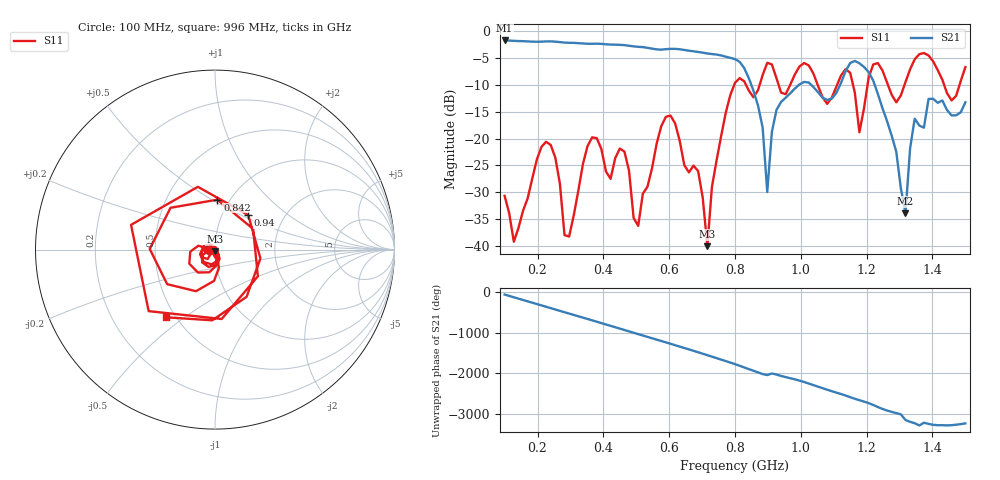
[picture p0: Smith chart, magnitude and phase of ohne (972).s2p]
! NanoVNA-App
! Date: 2025-09-25 14:28:22
! Start: 100MHz Stop: 1,5GHz Points: 101
! S-Parameter data: F S11 S21 S12 S22
# Hz S RI R 50
!  Frequency  S11_Real  S11_Imag  S21_Real  S21_Imag  S12_Real  S12_Imag  S22_Real  S22_Imag
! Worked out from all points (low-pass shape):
!   101 points, 100 MHz to 1.5 GHz, reference 50 ohm
!   highest |S21| = -1.79 dB at 100 MHz (marker M1); lowest = -33.9 dB at 1.318 GHz (marker M2)
!   |S21| within 3 dB of the highest: start of sweep to 771.4 MHz
!   lowest |S11| = -40.0 dB at 716 MHz (marker M3), VSWR 1.02, Z = 49.8 - j0.983 ohm
!   |S11| at or under -10 dB: start of sweep to 797.9 MHz; 833.1 MHz to 875.1 MHz (41.96 MHz wide, 4.91 % of centre); 1.051 GHz to 1.111 GHz (59.61 MHz wide, 5.52 % of centre) (the widest 3 of 7)
!   S12 and S22 are empty: the file has one direction only
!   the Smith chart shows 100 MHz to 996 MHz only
!   S11 on the Smith chart (normalised r, x): 100 MHz: 0.94, -0.01; 842 MHz: 0.88, +0.53; 940 MHz: 1.32, +0.55; 996 MHz: 0.44, -0.43
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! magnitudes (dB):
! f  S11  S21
! 100 MHz  -30.6  -1.8
! 128 MHz  -39.2  -1.9
! 226 MHz  -20.6  -2.0
! 296 MHz  -38.2  -2.2
! 338 MHz  -24.7  -2.4
! 464 MHz  -22.4  -2.7
! 506 MHz  -36.2  -3.0
! 576 MHz  -17.7  -3.5
! 688 MHz  -26.1  -3.9
! 716 MHz  -40.0  -4.2
! 800 MHz  -9.7  -5.3
! 842 MHz  -11.1  -8.8
! 898 MHz  -5.9  -29.9
! 940 MHz  -11.5  -13.2
! 996 MHz  -6.6  -9.9
! 1.038 GHz  -7.9  -10.4
! 1.178 GHz  -18.8  -6.0
! 1.22 GHz  -6.2  -9.2
! 1.276 GHz  -11.9  -19.5
! 1.318 GHz  -9.5  -33.9
! 1.346 GHz  -5.3  -16.3
! 1.5 GHz  -6.7  -13.3
